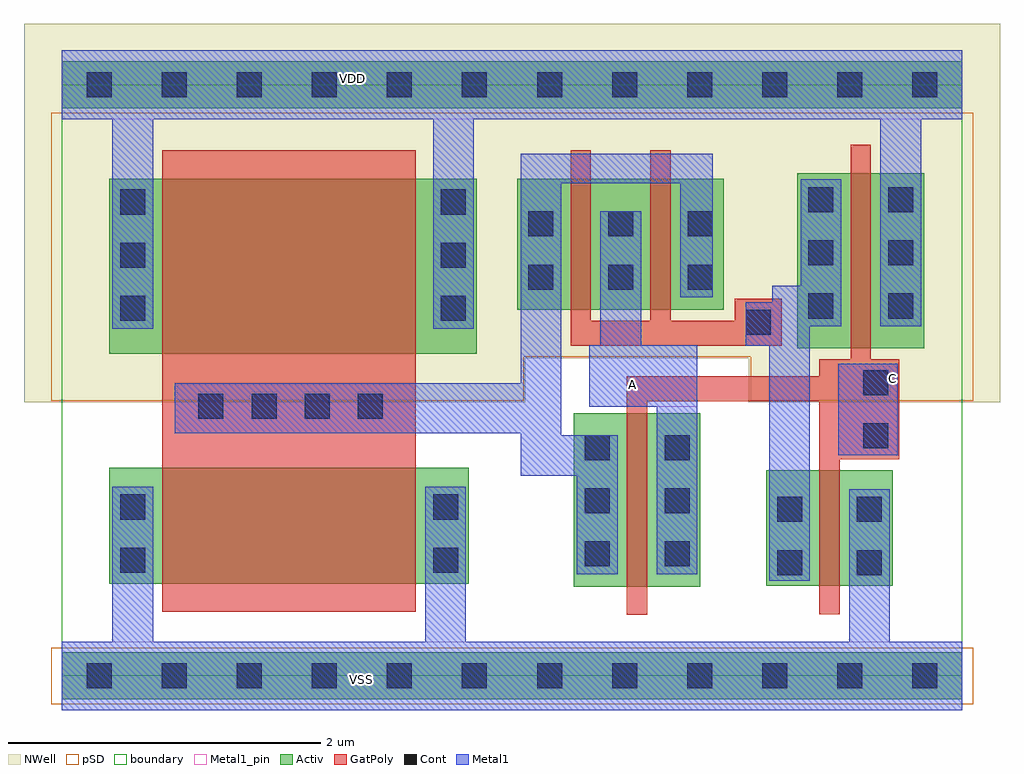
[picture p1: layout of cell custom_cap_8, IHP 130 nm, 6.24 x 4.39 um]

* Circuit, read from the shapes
.subckt custom_cap_8 A C VDD VSS
XM1 VSS n1 VSS VSS sg13_lv_nmos w=0.74u l=1.62u
XM2 A C n1 VSS sg13_lv_nmos w=1.11u l=0.13u
XM3 VSS C n2 VSS sg13_lv_nmos w=0.74u l=0.13u
XM4 VDD n1 VDD VDD sg13_lv_pmos w=1.12u l=1.62u
XM5 A n2 n1 VDD sg13_lv_pmos w=0.84u l=0.13u m=2
XM6 VDD C n2 VDD sg13_lv_pmos w=1.12u l=0.13u
.ends

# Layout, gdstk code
import gdstk
lib = gdstk.Library(unit=1e-6, precision=1e-09)
def R(c, l, rs):  # rectangles x0, y0, x1, y1
    for r in rs: c.add(gdstk.rectangle(r[:2], r[2:], *l))
def A(c, l, x, y, w, h, nx, ny, dx, dy):  # array of equal rectangles
    R(c, l, [(x+i*dx, y+j*dy, x+i*dx+w, y+j*dy+h) for i in range(nx) for j in range(ny)])
def P(c, l, *ps):  # polygons
    for p in ps: c.add(gdstk.Polygon(p, *l))
Activ = (1, 0)
GatPoly = (5, 0)
Cont = (6, 0)
Metal1 = (8, 0)
Metal1_pin = (8, 2)
pSD = (14, 0)
NWell = (31, 0)
boundary = (189, 4)

custom_cap_8 = lib.new_cell('custom_cap_8')
R(custom_cap_8, Activ, [(0,-0.15,5.76,0.15), (3.275,0.57,4.085,1.68), (4.505,0.575,5.315,1.315), (0.305,0.59,2.605,1.33), (0.305,2.06,2.655,3.18), (4.705,2.095,5.515,3.215), (2.915,2.34,4.235,3.18), (0,3.63,5.76,3.93)])
R(custom_cap_8, GatPoly, [(0.645,0.41,2.265,3.36)])
P(custom_cap_8, GatPoly, [(3.255,2.11),(3.255,3.36),(3.385,3.36),(3.385,2.27),(3.765,2.27),(3.765,3.36),(3.895,3.36),(3.895,2.27),(4.305,2.27),(4.305,2.41),(4.605,2.41),(4.605,2.11)],
  [(3.615,0.39),(3.615,1.915),(4.845,1.915),(4.845,2.025),(5.045,2.025),(5.045,3.395),(5.175,3.395),(5.175,2.025),(5.355,2.025),(5.355,1.385),(4.975,1.385),(4.975,0.395),(4.845,0.395),(4.845,1.755),(3.745,1.755),(3.745,0.39)])
A(custom_cap_8, Cont, 0.16, -0.08, 0.16, 0.16, 12, 2, 0.48, 3.78)
A(custom_cap_8, Cont, 3.345, 0.7, 0.16, 0.16, 1, 3, 0, 0.34)
A(custom_cap_8, Cont, 3.855, 0.7, 0.16, 0.16, 1, 3, 0, 0.34)
A(custom_cap_8, Cont, 0.875, 1.645, 0.16, 0.16, 4, 1, 0.34, 0)
A(custom_cap_8, Cont, 0.375, 2.27, 0.16, 0.16, 1, 3, 0, 0.34)
A(custom_cap_8, Cont, 2.425, 2.27, 0.16, 0.16, 1, 3, 0, 0.34)
A(custom_cap_8, Cont, 4.775, 2.285, 0.16, 0.16, 1, 3, 0, 0.34)
A(custom_cap_8, Cont, 5.285, 2.285, 0.16, 0.16, 1, 3, 0, 0.34)
A(custom_cap_8, Cont, 2.985, 2.47, 0.16, 0.16, 3, 2, 0.51, 0.34)
R(custom_cap_8, Cont, [(4.575,0.645,4.735,0.805), (5.085,0.645,5.245,0.805), (0.375,0.66,0.535,0.82), (2.375,0.66,2.535,0.82), (4.575,0.985,4.735,1.145), (5.085,0.985,5.245,1.145), (0.375,1,0.535,1.16), (2.375,1,2.535,1.16), (5.125,1.455,5.285,1.615), (5.125,1.795,5.285,1.955), (4.375,2.18,4.535,2.34)])
R(custom_cap_8, Metal1, [(4.965,1.41,5.345,1.995)])
P(custom_cap_8, Metal1, [(0.325,2.22),(0.325,3.56),(0,3.56),(0,4),(5.76,4),(5.76,3.56),(5.495,3.56),(5.495,2.235),(5.235,2.235),(5.235,3.56),(2.635,3.56),(2.635,2.22),(2.375,2.22),(2.375,3.56),(0.585,3.56),(0.585,2.22)],
  [(0,-0.22),(0,0.22),(0.325,0.22),(0.325,1.21),(0.585,1.21),(0.585,0.22),(2.325,0.22),(2.325,1.21),(2.585,1.21),(2.585,0.22),(5.035,0.22),(5.035,1.195),(5.295,1.195),(5.295,0.22),(5.76,0.22),(5.76,-0.22)],
  [(3.295,0.65),(3.295,1.28),(2.935,1.28),(2.935,1.55),(0.725,1.55),(0.725,1.87),(2.935,1.87),(2.935,3.34),(4.165,3.34),(4.165,2.42),(3.955,2.42),(3.955,3.15),(3.195,3.15),(3.195,1.54),(3.555,1.54),(3.555,0.65)],
  [(3.805,0.65),(3.805,1.72),(3.375,1.72),(3.375,2.115),(3.445,2.115),(3.445,2.97),(3.705,2.97),(3.705,2.115),(4.065,2.115),(4.065,0.65)],
  [(4.525,0.61),(4.525,2.11),(4.375,2.11),(4.375,2.39),(4.545,2.39),(4.545,2.495),(4.725,2.495),(4.725,3.175),(4.985,3.175),(4.985,2.235),(4.785,2.235),(4.785,0.61)])
R(custom_cap_8, Metal1_pin, [(0,-0.22,5.76,0.22), (4.965,1.41,5.345,1.995), (3.375,1.72,4.065,2.115), (0,3.56,5.76,4)])
R(custom_cap_8, pSD, [(-0.065,-0.18,5.83,0.18)])
P(custom_cap_8, pSD, [(-0.065,1.76),(-0.065,3.6),(5.83,3.6),(5.83,1.76),(4.405,1.76),(4.405,2.04),(2.955,2.04),(2.955,1.76)])
P(custom_cap_8, NWell, [(-0.24,1.75),(-0.24,4.17),(6,4.17),(6,1.75),(4.395,1.75),(4.395,2.03),(2.965,2.03),(2.965,1.75)])
R(custom_cap_8, boundary, [(0,0,5.76,3.78)])
custom_cap_8.add(gdstk.Label('A', (3.65,1.865), layer=8, texttype=25))
custom_cap_8.add(gdstk.Label('C', (5.31,1.9), layer=8, texttype=25))
custom_cap_8.add(gdstk.Label('VSS', (1.92,-0.025), layer=8, texttype=25))
custom_cap_8.add(gdstk.Label('VDD', (1.86,3.82), layer=8, texttype=25))

lib.write_gds('custom_cap_8.gds')
